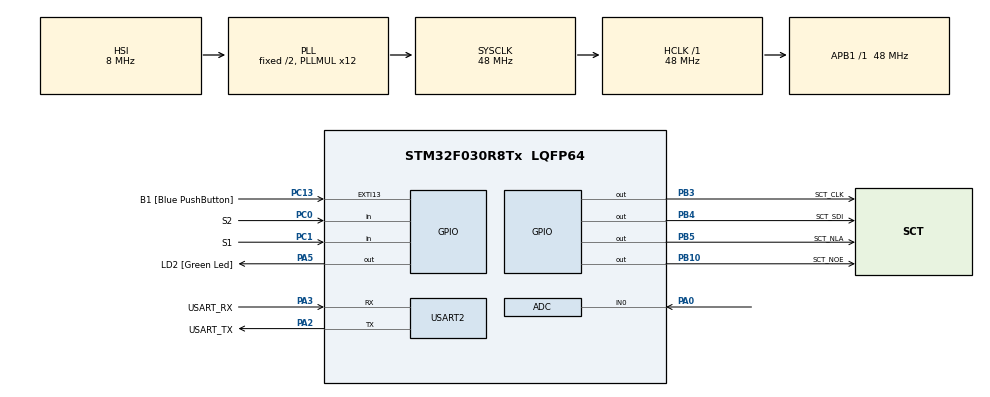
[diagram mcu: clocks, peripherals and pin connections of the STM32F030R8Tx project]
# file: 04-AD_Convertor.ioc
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ADC.ContinuousConvMode=ENABLE
ADC.Overrun=ADC_OVR_DATA_OVERWRITTEN
ADC.SamplingTime=ADC_SAMPLETIME_239CYCLES_5
Mcu.Family=STM32F0
Mcu.Name=STM32F030R8Tx
Mcu.Package=LQFP64
NVIC.ADC1_IRQn=true\:0\:0\:false\:false\:true\:true\:true\:true
PA0.Mode=IN0
PA0.Signal=ADC_IN0
PA13.GPIO_Label=TMS
PA13.Mode=Serial_Wire
PA13.Signal=SYS_SWDIO
PA14.GPIO_Label=TCK
PA14.Mode=Serial_Wire
PA14.Signal=SYS_SWCLK
PA2.GPIO_Label=USART_TX
PA2.GPIO_Mode=GPIO_MODE_AF_PP
PA2.GPIO_PuPd=GPIO_NOPULL
PA2.GPIO_Speed=GPIO_SPEED_FREQ_LOW
PA2.Mode=Asynchronous
PA2.Signal=USART2_TX
PA3.GPIO_Label=USART_RX
PA3.GPIO_Mode=GPIO_MODE_AF_PP
PA3.GPIO_PuPd=GPIO_NOPULL
PA3.GPIO_Speed=GPIO_SPEED_FREQ_LOW
PA3.Mode=Asynchronous
PA3.Signal=USART2_RX
PA5.GPIO_Label=LD2 [Green Led]
PA5.GPIO_Mode=GPIO_MODE_OUTPUT_PP
PA5.GPIO_PuPd=GPIO_NOPULL
PA5.GPIO_Speed=GPIO_SPEED_FREQ_LOW
PA5.Signal=GPIO_Output
PB10.GPIO_Label=SCT_NOE
PB10.Signal=GPIO_Output
PB3.GPIO_Label=SCT_CLK
PB3.Signal=GPIO_Output
PB4.GPIO_Label=SCT_SDI
PB4.Signal=GPIO_Output
PB5.GPIO_Label=SCT_NLA
PB5.Signal=GPIO_Output
PC0.GPIO_Label=S2
PC0.GPIO_PuPd=GPIO_PULLUP
PC0.Signal=GPIO_Input
PC1.GPIO_Label=S1
PC1.GPIO_PuPd=GPIO_PULLUP
PC1.Signal=GPIO_Input
PC13.GPIO_Label=B1 [Blue PushButton]
PC13.GPIO_ModeDefaultEXTI=GPIO_MODE_IT_FALLING
PC13.Signal=GPXTI13
PC14-OSC32_IN.Mode=LSE-External-Oscillator
PC14-OSC32_IN.Signal=RCC_OSC32_IN
PC15-OSC32_OUT.Mode=LSE-External-Oscillator
PC15-OSC32_OUT.Signal=RCC_OSC32_OUT
PF0-OSC_IN.Mode=HSE-External-Clock-Source
PF0-OSC_IN.Signal=RCC_OSC_IN
PF1-OSC_OUT.Signal=RCC_OSC_OUT
ProjectManager.HeapSize=0x200
ProjectManager.StackSize=0x400
ProjectManager.TargetToolchain=STM32CubeIDE
RCC.AHBFreq_Value=48000000
RCC.APB1Freq_Value=48000000
RCC.APB1TimFreq_Value=48000000
RCC.HCLKFreq_Value=48000000
RCC.PLLMUL=RCC_PLL_MUL12
RCC.SYSCLKFreq_VALUE=48000000
RCC.SYSCLKSource=RCC_SYSCLKSOURCE_PLLCLK
USART2.VirtualMode-Asynchronous=VM_ASYNC
VP_ADC_TempSens_Input.Mode=IN-TempSens
VP_ADC_Vref_Input.Mode=IN-Vrefint
board=NUCLEO-F030R8

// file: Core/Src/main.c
/* USER CODE BEGIN Header */
/**
  ******************************************************************************
  * @file           : main.c
  * @brief          : Main program body
  ******************************************************************************
  * @attention
  *
  * Copyright (c) 2024 STMicroelectronics.
  * All rights reserved.
  *
  * This software is licensed under terms that can be found in the LICENSE file
  * in the root directory of this software component.
  * If no LICENSE file comes with this software, it is provided AS-IS.
  *
  ******************************************************************************
  */
/* USER CODE END Header */
#include "main.h"

/* USER CODE BEGIN Includes */
#include "sct.h"
/* USER CODE END Includes */

/* USER CODE BEGIN PTD */
#define DELAY 50
#define STATE_DELAY 1000
#define ADC_Q 6
#define ADC_RANGE 4095
#define SCALE 500.5

#define TEMP110_CAL_ADDR ((uint16_t*) ((uint32_t) 0x1FFFF7C2))
#define TEMP30_CAL_ADDR ((uint16_t*) ((uint32_t) 0x1FFFF7B8))

#define VREFINT_CAL_ADDR ((uint16_t*) ((uint32_t) 0x1FFFF7BA))

/* USER CODE END PTD */

ADC_HandleTypeDef hadc;

UART_HandleTypeDef huart2;

/* USER CODE BEGIN PV */
static volatile uint32_t raw_pot;
static volatile uint32_t raw_volt;
static volatile uint32_t raw_temp;
/* USER CODE END PV */

void SystemClock_Config(void);
static void MX_GPIO_Init(void);
static void MX_USART2_UART_Init(void);
static void MX_ADC_Init(void);

/* USER CODE BEGIN 0 */
	void HAL_ADC_ConvCpltCallback(ADC_HandleTypeDef* hadc)
	{
	  static uint8_t channel = 0;

	  static uint32_t avg_pot;

		switch (channel) {
			case 0: // Potentiometer
			    raw_pot = avg_pot >> ADC_Q;
			    avg_pot -= raw_pot;
			    avg_pot += HAL_ADC_GetValue(hadc);
				break;

			case 1: // Temperature
				raw_temp = HAL_ADC_GetValue(hadc);

				break;

			case 2: // Voltage
				raw_volt = HAL_ADC_GetValue(hadc);
				break;

			default:
				break;
		}

	    if (__HAL_ADC_GET_FLAG(hadc, ADC_FLAG_EOS)) channel = 0;
	    else channel++;
	}

/* USER CODE END 0 */

int main(void)
{

  /* MCU Configuration--------------------------------------------------------*/

  /* Reset of all peripherals, Initializes the Flash interface and the Systick. */
  HAL_Init();

  /* USER CODE BEGIN Init */
  sct_init();

  /* USER CODE END Init */

  /* Configure the system clock */
  SystemClock_Config();

  /* Initialize all configured peripherals */
  MX_GPIO_Init();
  MX_USART2_UART_Init();
  MX_ADC_Init();
  /* USER CODE BEGIN 2 */
  HAL_ADCEx_Calibration_Start(&hadc);
  HAL_ADC_Start_IT(&hadc);
  uint16_t pot = 0;
  /* USER CODE END 2 */

  /* Infinite loop */
  /* USER CODE BEGIN WHILE */
  while (1)
  {
    static enum { SHOW_POT, SHOW_VOLT, SHOW_TEMP } state = SHOW_POT;

	static uint32_t last_tick;
	static uint32_t time;

	if (HAL_GPIO_ReadPin(S1_GPIO_Port, S1_Pin) != 1){
		state = SHOW_TEMP;
		time = HAL_GetTick();
	}else if (HAL_GPIO_ReadPin(S2_GPIO_Port, S2_Pin) != 1) {
		state = SHOW_VOLT;
		time = HAL_GetTick();
	}

    if (HAL_GetTick() > time + STATE_DELAY) {
    	state = SHOW_POT;
    }

    switch (state) {
		case SHOW_TEMP:
			int32_t temperature = (raw_temp - (int32_t)(*TEMP30_CAL_ADDR));
			temperature = temperature * (int32_t)(110 - 30);
			temperature = temperature / (int32_t)(*TEMP110_CAL_ADDR - *TEMP30_CAL_ADDR);
			temperature = temperature + 30;
		    if (HAL_GetTick() > last_tick + DELAY) {
		      sct_value(temperature,0);
			  last_tick = HAL_GetTick();
		    }

			break;

		case SHOW_VOLT:
			uint32_t voltage = 330 * (*VREFINT_CAL_ADDR) / raw_volt;
		    if (HAL_GetTick() > last_tick + DELAY) {
		      sct_value(voltage,0);
			  last_tick = HAL_GetTick();
		    }
			break;

		default:// SHOW_POT
			uint8_t led = (raw_pot >> 9);
			//uint8_t led = raw_pot/SCALE;

		    if (HAL_GetTick() > last_tick + DELAY) {
			  //pot = (raw_pot*500.5)/ADC_RANGE;
			  pot = raw_pot >> 3;
			  sct_value(pot, led);
			  last_tick = HAL_GetTick();
		    }
		    break;
	  }

    /* USER CODE END WHILE */

  }
}

void SystemClock_Config(void)
{
  RCC_OscInitTypeDef RCC_OscInitStruct = {0};
  RCC_ClkInitTypeDef RCC_ClkInitStruct = {0};

  /** Initializes the RCC Oscillators according to the specified parameters
  * in the RCC_OscInitTypeDef structure.
  */
  RCC_OscInitStruct.OscillatorType = RCC_OSCILLATORTYPE_HSI|RCC_OSCILLATORTYPE_HSI14;
  RCC_OscInitStruct.HSIState = RCC_HSI_ON;
  RCC_OscInitStruct.HSI14State = RCC_HSI14_ON;
  RCC_OscInitStruct.HSICalibrationValue = RCC_HSICALIBRATION_DEFAULT;
  RCC_OscInitStruct.HSI14CalibrationValue = 16;
  RCC_OscInitStruct.PLL.PLLState = RCC_PLL_ON;
  RCC_OscInitStruct.PLL.PLLSource = RCC_PLLSOURCE_HSI;
  RCC_OscInitStruct.PLL.PLLMUL = RCC_PLL_MUL12;
  RCC_OscInitStruct.PLL.PREDIV = RCC_PREDIV_DIV1;
  if (HAL_RCC_OscConfig(&RCC_OscInitStruct) != HAL_OK)
  {
    Error_Handler();
  }

  /** Initializes the CPU, AHB and APB buses clocks
  */
  RCC_ClkInitStruct.ClockType = RCC_CLOCKTYPE_HCLK|RCC_CLOCKTYPE_SYSCLK
                              |RCC_CLOCKTYPE_PCLK1;
  RCC_ClkInitStruct.SYSCLKSource = RCC_SYSCLKSOURCE_PLLCLK;
  RCC_ClkInitStruct.AHBCLKDivider = RCC_SYSCLK_DIV1;
  RCC_ClkInitStruct.APB1CLKDivider = RCC_HCLK_DIV1;

  if (HAL_RCC_ClockConfig(&RCC_ClkInitStruct, FLASH_LATENCY_1) != HAL_OK)
  {
    Error_Handler();
  }
}

static void MX_ADC_Init(void)
{

  ADC_ChannelConfTypeDef sConfig = {0};

  /** Configure the global features of the ADC (Clock, Resolution, Data Alignment and number of conversion)
  */
  hadc.Instance = ADC1;
  hadc.Init.ClockPrescaler = ADC_CLOCK_ASYNC_DIV1;
  hadc.Init.Resolution = ADC_RESOLUTION_12B;
  hadc.Init.DataAlign = ADC_DATAALIGN_RIGHT;
  hadc.Init.ScanConvMode = ADC_SCAN_DIRECTION_FORWARD;
  hadc.Init.EOCSelection = ADC_EOC_SINGLE_CONV;
  hadc.Init.LowPowerAutoWait = DISABLE;
  hadc.Init.LowPowerAutoPowerOff = DISABLE;
  hadc.Init.ContinuousConvMode = ENABLE;
  hadc.Init.DiscontinuousConvMode = DISABLE;
  hadc.Init.ExternalTrigConv = ADC_SOFTWARE_START;
  hadc.Init.ExternalTrigConvEdge = ADC_EXTERNALTRIGCONVEDGE_NONE;
  hadc.Init.DMAContinuousRequests = DISABLE;
  hadc.Init.Overrun = ADC_OVR_DATA_OVERWRITTEN;
  if (HAL_ADC_Init(&hadc) != HAL_OK)
  {
    Error_Handler();
  }

  /** Configure for the selected ADC regular channel to be converted.
  */
  sConfig.Channel = ADC_CHANNEL_0;
  sConfig.Rank = ADC_RANK_CHANNEL_NUMBER;
  sConfig.SamplingTime = ADC_SAMPLETIME_239CYCLES_5;
  if (HAL_ADC_ConfigChannel(&hadc, &sConfig) != HAL_OK)
  {
    Error_Handler();
  }

  /** Configure for the selected ADC regular channel to be converted.
  */
  sConfig.Channel = ADC_CHANNEL_TEMPSENSOR;
  if (HAL_ADC_ConfigChannel(&hadc, &sConfig) != HAL_OK)
  {
    Error_Handler();
  }

  /** Configure for the selected ADC regular channel to be converted.
  */
  sConfig.Channel = ADC_CHANNEL_VREFINT;
  if (HAL_ADC_ConfigChannel(&hadc, &sConfig) != HAL_OK)
  {
    Error_Handler();
  }

}

static void MX_USART2_UART_Init(void)
{

  huart2.Instance = USART2;
  huart2.Init.BaudRate = 38400;
  huart2.Init.WordLength = UART_WORDLENGTH_8B;
  huart2.Init.StopBits = UART_STOPBITS_1;
  huart2.Init.Parity = UART_PARITY_NONE;
  huart2.Init.Mode = UART_MODE_TX_RX;
  huart2.Init.HwFlowCtl = UART_HWCONTROL_NONE;
  huart2.Init.OverSampling = UART_OVERSAMPLING_16;
  huart2.Init.OneBitSampling = UART_ONE_BIT_SAMPLE_DISABLE;
  huart2.AdvancedInit.AdvFeatureInit = UART_ADVFEATURE_NO_INIT;
  if (HAL_UART_Init(&huart2) != HAL_OK)
  {
    Error_Handler();
  }

}

static void MX_GPIO_Init(void)
{
  GPIO_InitTypeDef GPIO_InitStruct = {0};

  /* GPIO Ports Clock Enable */
  __HAL_RCC_GPIOC_CLK_ENABLE();
  __HAL_RCC_GPIOF_CLK_ENABLE();
  __HAL_RCC_GPIOA_CLK_ENABLE();
  __HAL_RCC_GPIOB_CLK_ENABLE();

  /*Configure GPIO pin Output Level */
  HAL_GPIO_WritePin(LD2_GPIO_Port, LD2_Pin, GPIO_PIN_RESET);

  /*Configure GPIO pin Output Level */
  HAL_GPIO_WritePin(GPIOB, SCT_NOE_Pin|SCT_CLK_Pin|SCT_SDI_Pin|SCT_NLA_Pin, GPIO_PIN_RESET);

  /*Configure GPIO pin : B1_Pin */
  GPIO_InitStruct.Pin = B1_Pin;
  GPIO_InitStruct.Mode = GPIO_MODE_IT_FALLING;
  GPIO_InitStruct.Pull = GPIO_NOPULL;
  HAL_GPIO_Init(B1_GPIO_Port, &GPIO_InitStruct);

  /*Configure GPIO pins : S2_Pin S1_Pin */
  GPIO_InitStruct.Pin = S2_Pin|S1_Pin;
  GPIO_InitStruct.Mode = GPIO_MODE_INPUT;
  GPIO_InitStruct.Pull = GPIO_PULLUP;
  HAL_GPIO_Init(GPIOC, &GPIO_InitStruct);

  /*Configure GPIO pin : LD2_Pin */
  GPIO_InitStruct.Pin = LD2_Pin;
  GPIO_InitStruct.Mode = GPIO_MODE_OUTPUT_PP;
  GPIO_InitStruct.Pull = GPIO_NOPULL;
  GPIO_InitStruct.Speed = GPIO_SPEED_FREQ_LOW;
  HAL_GPIO_Init(LD2_GPIO_Port, &GPIO_InitStruct);

  /*Configure GPIO pins : SCT_NOE_Pin SCT_CLK_Pin SCT_SDI_Pin SCT_NLA_Pin */
  GPIO_InitStruct.Pin = SCT_NOE_Pin|SCT_CLK_Pin|SCT_SDI_Pin|SCT_NLA_Pin;
  GPIO_InitStruct.Mode = GPIO_MODE_OUTPUT_PP;
  GPIO_InitStruct.Pull = GPIO_NOPULL;
  GPIO_InitStruct.Speed = GPIO_SPEED_FREQ_LOW;
  HAL_GPIO_Init(GPIOB, &GPIO_InitStruct);

}

void Error_Handler(void)
{
  __disable_irq();
  while (1)
  {
  }
}
